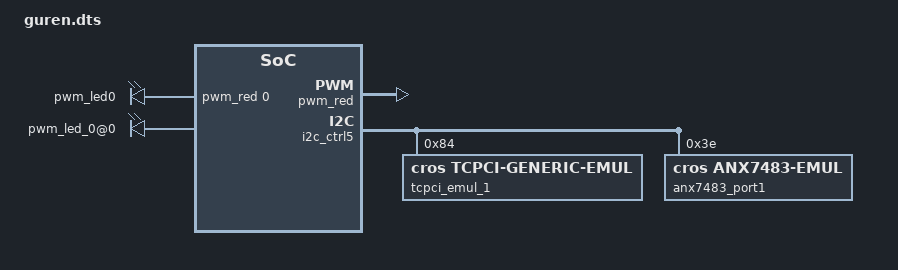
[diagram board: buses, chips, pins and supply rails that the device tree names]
/* Copyright 2025 The ChromiumOS Authors
 * Use of this source code is governed by a BSD-style license that can be
 * found in the LICENSE file.
 */

#include <dt-bindings/pwm/pwm.h>
#include <npcx_emul.dts>

#include "../program/nissa/guren/cbi.dtsi"
#include "../program/nissa/guren/motionsense.dtsi"

/ {
        chosen {
                cros-ec,raw-kb = &cros_kb_raw;
        };

        cros_kb_raw: kb-raw-emul {
                compatible = "cros-ec,kb-raw-emul";
        };

        aliases {
                /* type-C */
                gpio-usb-c1-int-odl = &gpio_sb_1;
                /* type-A */
                gpio-en-usb-a1-vbus = &gpio_sb_2;
                /* HDMI */
                gpio-en-rails-odl = &gpio_sb_1;
                gpio-hdmi-en-odl = &gpio_sb_3;
                gpio-hpd-odl = &gpio_sb_4;
                /* LTE */
                gpio-en-sub-s5-rails = &gpio_sb_2;
        };

	gpio-interrupts {
		compatible = "cros-ec,gpio-interrupts";
		int_imu: ec_imu {
                        irq-pin = <&gpio_imu_int_l>;
                        flags = <GPIO_INT_EDGE_FALLING>;
                        handler = "motion_interrupt";
                };
                int_lid_imu: lid_imu {
                        irq-pin = <&gpio_acc_int_l>;
                        flags = <GPIO_INT_EDGE_FALLING>;
                        handler = "bma4xx_interrupt";
                };
                int_tablet_mode: tablet_mode {
                        irq-pin = <&gpio_tablet_mode_l>;
                        flags = <GPIO_INT_EDGE_BOTH>;
                        handler = "gmr_tablet_switch_isr";
                };
                int_lid_open: lid_open {
                        irq-pin = <&gpio_lid_open>;
			flags = <GPIO_INT_EDGE_BOTH>;
                        handler = "lid_interrupt";
                };
		int_pen_det_l: pen_det_l {
			irq-pin = <&gpio_pen_detect_odl>;
                        flags = <GPIO_INT_EDGE_BOTH>;
                        handler = "pen_detect_interrupt";
                };
	};

	named-gpios {
		gpio_fan_enable: fan-enable {
			gpios = <&gpio6 3 GPIO_OUTPUT>;
			no-auto-init;
		};
		gpio_imu_int_l: imu_int_l {
                        gpios = <&gpio5 6 GPIO_INPUT>;
                };
                gpio_acc_int_l: acc_int_l {
                        gpios = <&gpio5 0 GPIO_INPUT>;
                };
                gpio_tablet_mode_l: tablet_mode_l {
                        gpios = <&gpio9 5 GPIO_INPUT>;
                        enum-name = "GPIO_TABLET_MODE_L";
                };
                gpio_lid_open: lid_open {
                        gpios = <&gpiod 2 GPIO_INPUT>;
                        enum-name = "GPIO_LID_OPEN";
                };
		gpio_pen_detect_odl: pen_detect_odl {
                        gpios = <&gpio9 6 GPIO_INPUT_PULL_UP>;
                };
                gpio_en_pp5000_pen_x: en_pp5000_pen_x {
                        gpios = <&gpioe 2 GPIO_OUTPUT>;
                };
                gpio_sb_1: sb-1 {
                        gpios = <&gpio0 2 GPIO_PULL_UP>;
                        no-auto-init;
                };

                gpio_sb_2: sb-2 {
                        gpios = <&gpiod 4 GPIO_OUTPUT>;
                        no-auto-init;
                };

                gpio_sb_3: sb-3 {
                        gpios = <&gpiof 4 0>;
                        no-auto-init;
                };

                gpio_sb_4: sb-4 {
                        gpios = <&gpiof 5 GPIO_INPUT>;
                        no-auto-init;
                };
	};

	usbc {
                #address-cells = <1>;
                #size-cells = <0>;

                port1@1 {
                        compatible = "named-usbc-port";
                        reg = <1>;
                        tcpc = <&tcpci_emul_1>;
                        usb-mux-chain-1 {
                                compatible = "cros-ec,usb-mux-chain";
                                usb-muxes = <&virtual_mux_1 &anx7483_port1>;
                        };
                };
                port1-muxes {
                        virtual_mux_1: virtual-mux-1 {
                                compatible = "cros-ec,usbc-mux-virtual";
                        };
                };
        };

	named-i2c-ports {
		i2c_ec_i2c_batt: ec_i2c_batt {
			i2c-port = <&i2c_ctrl7>;
			enum-names = "I2C_PORT_BATTERY";
		};
		i2c_ec_i2c_sensor: ec_i2c_sensor {
			i2c-port = <&i2c_ctrl1>;
			enum-names = "I2C_PORT_SENSOR";
		};
	};

	/* LEDs need to exist for testing, but aren't actually used. */
	led-pwms {
		#address-cells = <1>;
		#size-cells = <1>;

		pwm_red: pwm@0 {
			compatible = "cros,pwm-mock";
			reg = <0 1>;
			#pwm-cells = <3>;
		};
	};

	pwm-leds {
		compatible = "pwm-leds";

		pwm_led0: led0 {
			pwms = <&pwm_red 0 PWM_HZ(324) PWM_POLARITY_INVERTED>;
		};
	};

	cros-pwmleds {
		compatible = "cros-ec,pwm-leds";
		leds = <&pwm_led0>;

		#address-cells = <1>;
		#size-cells = <0>;

		pwm_led_0@0 {
			reg = <0>;
			ec-led-name = "EC_LED_ID_BATTERY_LED";
		};
	};

	batteries {
		default_battery: getac_pg01jh3353 {
			compatible = "getac,pg01jh3353", "battery-smart";
		};
		default_battery_3s: getac_pg01lj3353 {
			compatible = "getac,pg01lj3353", "battery-smart";
		};
	};


};

&i2c_ctrl5 {
	tcpci_emul_1: tcpci_emul@84 {
                compatible = "cros,tcpci-generic-emul";
                status = "okay";
                reg = <0x84>;
        };
        anx7483_port1: anx7483_emul1@3e {
                compatible = "cros,anx7483-emul", "analogix,anx7483";
		reg = <0x3e>;
		board-set = "board_anx7483_c1_mux_set";
	};
};
